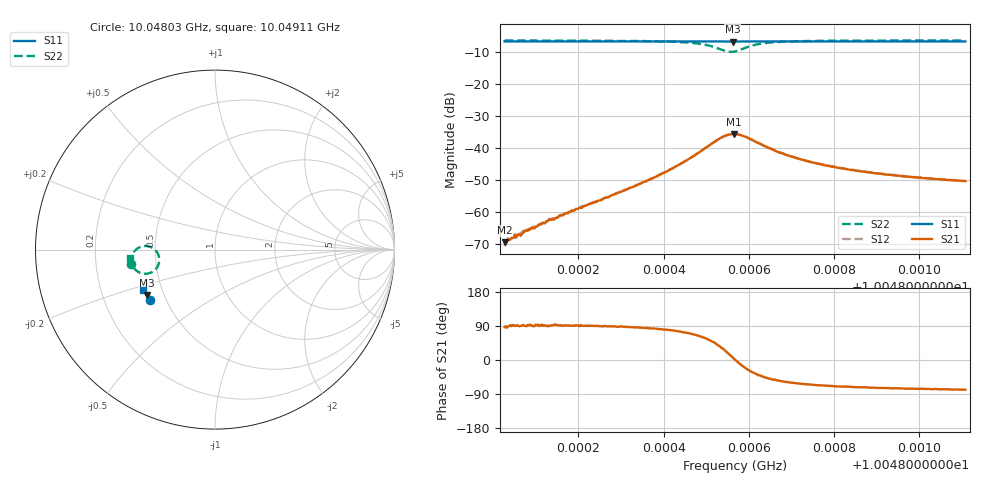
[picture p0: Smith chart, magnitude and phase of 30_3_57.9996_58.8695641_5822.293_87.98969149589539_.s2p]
#  HZ  S  RI  R  50.00
! Rohde & Schwarz Vector Network Analyzer
! Rohde-Schwarz,ZNB20-2Port,1311601062101988,3.16
! Created: UTC 3/21/2024, 12:51:39 AM
! freq[Hz]  re:S11  im:S11  re:S21  im:S21  re:S12  im:S12  re:S22  im:S22
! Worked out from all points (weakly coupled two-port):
!   401 points, 10.04803 GHz to 10.04911 GHz, reference 50 ohm
!   highest |S21| = -35.62 dB at 10.04856 GHz (marker M1); lowest = -69.4 dB at 10.04803 GHz (marker M2)
!   lowest |S11| = -6.8 dB at 10.04856 GHz (marker M3), VSWR 2.68, Z = 20.1 - j12.8 ohm
!   |S11| at or under -10 dB: nowhere
!   |S22| runs from -10.0 to -6.5 dB; largest |S21 - S12| = 0.0013
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1.0048027e10  -0.3622 -0.2829  1.9e-05 0.000339  -3.23e-05 0.000294  -0.4668 -0.0819
1.004804e10  -0.3626 -0.2821  -1.36e-05 0.000375  -3.76e-05 0.000388  -0.4669 -0.0806
1.0048056e10  -0.3633 -0.2812  -1.58e-05 0.000424  -1.98e-05 0.000445  -0.467 -0.079
1.004807e10  -0.3638 -0.2805  -2.31e-05 0.000472  -4.38e-05 0.000513  -0.467 -0.0777
1.0048129e10  -0.3662 -0.2774  -1.2e-05 0.000752  -7.19e-05 0.000743  -0.4674 -0.0714
1.0048146e10  -0.3668 -0.2764  -5.75e-05 0.000803  -7.49e-05 0.000832  -0.4673 -0.0696
1.0048208e10  -0.3692 -0.2731  -3.27e-06 0.00116  -4.72e-05 0.00122  -0.4675 -0.0617
1.00483e10  -0.3727 -0.2679  4.19e-05 0.00209  -3.05e-05 0.00212  -0.4657 -0.0474
1.0048389e10  -0.376 -0.2627  0.000559 0.00373  0.000306 0.00381  -0.4594 -0.0262
1.0048451e10  -0.3781 -0.2589  0.0019 0.00598  0.00156 0.00613  -0.4432 -0.00253
1.0048516e10  -0.38 -0.2549  0.00817 0.00891  0.00763 0.00936  -0.3785 0.0198
1.0048543e10  -0.3801 -0.2535  0.0138 0.00677  0.0133 0.00755  -0.3279 -0.00809
1.0048562e10  -0.3804 -0.2529  0.0164 0.00194  0.0162 0.00296  -0.3104 -0.0562
1.0048565e10  -0.3805 -0.2528  0.0165 0.00113  0.0163 0.00222  -0.3106 -0.0637
1.0048568e10  -0.3806 -0.2529  0.0164 0.000329  0.0165 0.00146  -0.3117 -0.0712
1.0048597e10  -0.3818 -0.2519  0.013 -0.00618  0.0136 -0.00512  -0.3535 -0.1267
1.0048635e10  -0.3837 -0.2501  0.00769 -0.00757  0.00822 -0.00726  -0.4079 -0.1323
1.0048673e10  -0.3853 -0.2479  0.00483 -0.00689  0.00536 -0.0067  -0.4354 -0.1191
1.0048749e10  -0.3881 -0.2433  0.00251 -0.00542  0.00285 -0.00535  -0.4567 -0.0956
1.0048833e10  -0.3911 -0.2385  0.00155 -0.00437  0.0018 -0.00432  -0.4647 -0.0785
1.004893e10  -0.3942 -0.2329  0.00103 -0.00368  0.00127 -0.00364  -0.4689 -0.0645
1.0049108e10  -0.4 -0.2224  0.000621 -0.00299  0.000787 -0.00295  -0.4723 -0.0454
